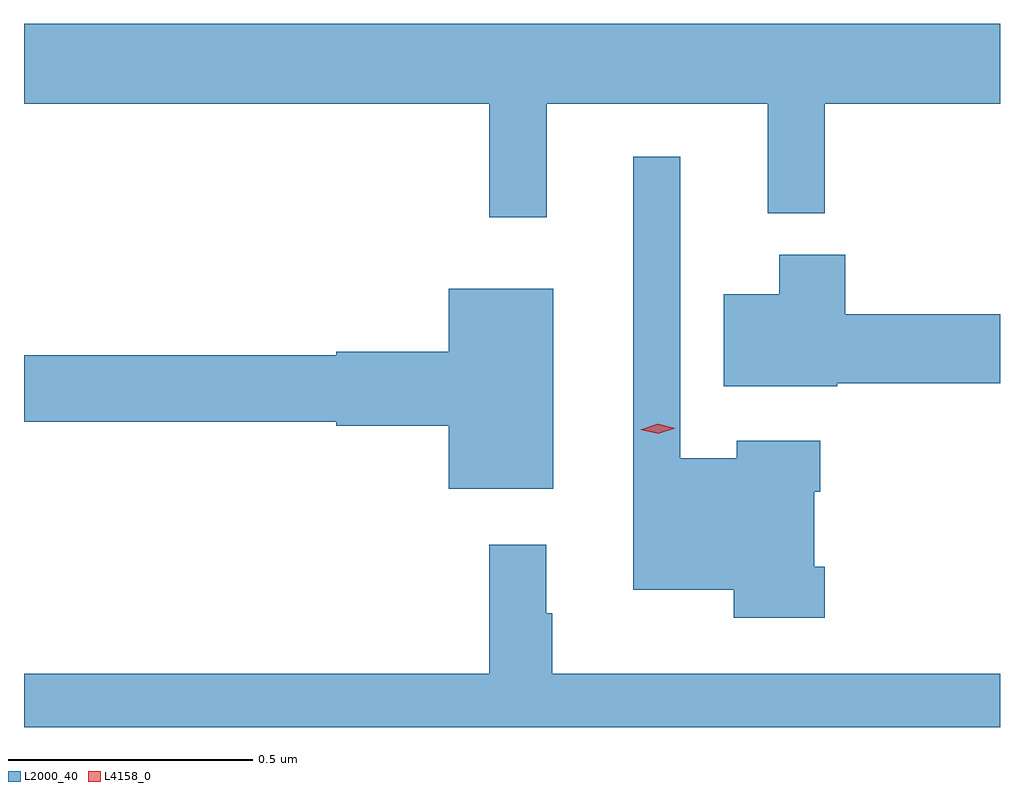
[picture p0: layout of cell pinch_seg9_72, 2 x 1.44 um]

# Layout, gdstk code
import gdstk
lib = gdstk.Library(unit=1e-6, precision=1e-09)
def P(c, l, *ps):  # polygons
    for p in ps: c.add(gdstk.Polygon(p, *l))
L2000_40 = (2000, 40)
L4158_0 = (4158, 0)

pinch_seg9_72 = lib.new_cell('pinch_seg9_72')
P(pinch_seg9_72, L2000_40, [(977.633,1203.08),(978.086,1203.08),(978.086,1202.855),(978.203,1202.855),(978.203,1203.08),(978.562,1203.08),(978.562,1203.244),(976.562,1203.244),(976.562,1203.08),(977.515,1203.08),(977.515,1202.847),(977.633,1202.847)],
  [(978.203,1202.131),(978.181,1202.131),(978.181,1202.285),(978.194,1202.285),(978.194,1202.389),(978.023,1202.389),(978.023,1202.353),(977.907,1202.353),(977.907,1202.971),(977.81,1202.971),(977.81,1202.084),(978.016,1202.084),(978.016,1202.027),(978.203,1202.027)],
  [(978.228,1202.507),(978.562,1202.507),(978.562,1202.649),(978.245,1202.649),(978.245,1202.77),(978.11,1202.77),(978.11,1202.689),(977.996,1202.689),(977.996,1202.501),(978.228,1202.501)],
  [(977.647,1202.701),(977.432,1202.701),(977.432,1202.572),(977.202,1202.572),(977.202,1202.564),(976.562,1202.564),(976.562,1202.428),(977.202,1202.428),(977.202,1202.42),(977.432,1202.42),(977.432,1202.291),(977.647,1202.291)],
  [(978.562,1201.912),(977.644,1201.912),(977.644,1202.036),(977.632,1202.036),(977.632,1202.176),(977.515,1202.176),(977.515,1201.912),(976.562,1201.912),(976.562,1201.802),(978.562,1201.802)])
P(pinch_seg9_72, L4158_0, [(977.862,1202.404),(977.825,1202.412),(977.825,1202.412),(977.825,1202.412),(977.861,1202.424),(977.897,1202.415),(977.897,1202.415),(977.897,1202.415)])

lib.write_gds('pinch_seg9_72.gds')
